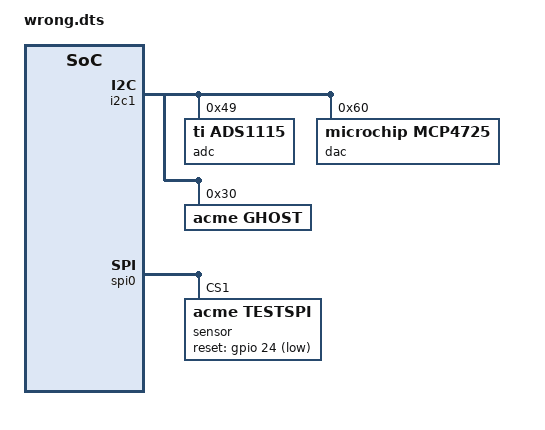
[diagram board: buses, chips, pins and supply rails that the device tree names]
// Overlay with typical mistakes: wrong ADC address, wrong DAC driver, wrong reset GPIO and a
// device that is not on the board.
/dts-v1/;
/plugin/;

&i2c1 {
	#address-cells = <1>;
	#size-cells = <0>;
	status = "okay";

	adc@49 {
		compatible = "ti,ads1115";
		reg = <0x49>;
	};

	dac@60 {
		compatible = "microchip,mcp4725";
		reg = <0x60>;
	};

	ghost@30 {
		compatible = "acme,ghost";
		reg = <0x30>;
	};
};

&spi0 {
	#address-cells = <1>;
	#size-cells = <0>;
	status = "okay";

	sensor@1 {
		compatible = "acme,testspi";
		reg = <1>;
		reset-gpios = <&gpio 24 1>;
	};
};
